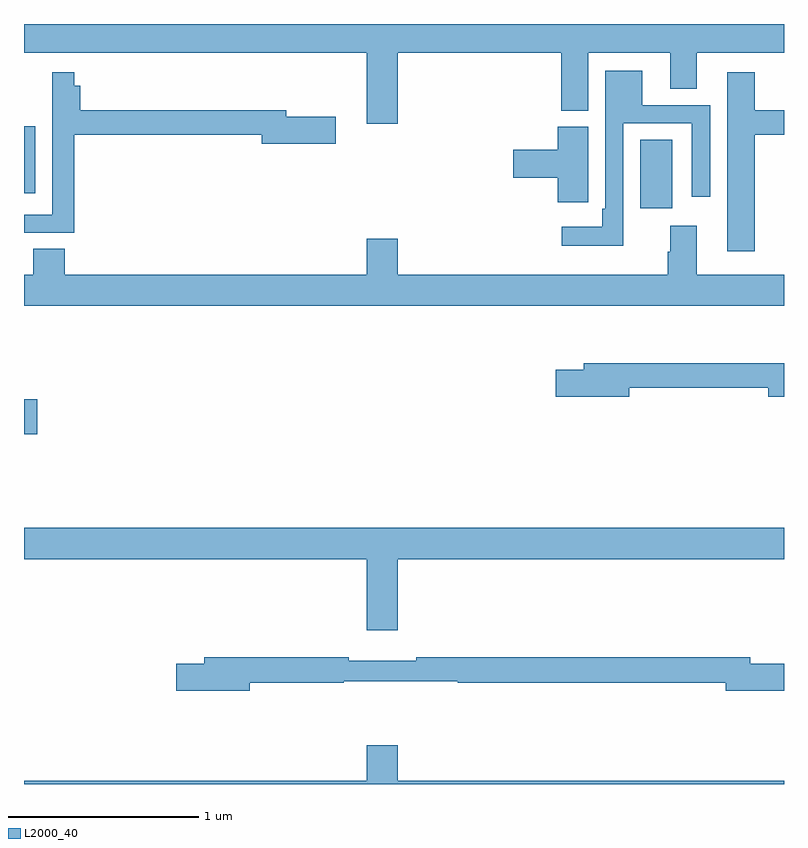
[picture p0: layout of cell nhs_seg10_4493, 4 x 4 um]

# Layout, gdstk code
import gdstk
lib = gdstk.Library(unit=1e-6, precision=1e-09)
def R(c, l, rs):  # rectangles x0, y0, x1, y1
    for r in rs: c.add(gdstk.rectangle(r[:2], r[2:], *l))
def P(c, l, *ps):  # polygons
    for p in ps: c.add(gdstk.Polygon(p, *l))
L2000_40 = (2000, 40)

nhs_seg10_4493 = lib.new_cell('nhs_seg10_4493')
R(nhs_seg10_4493, L2000_40, [(367,1266.341,367.069,1266.524), (370.244,1267.53,370.411,1267.892), (367,1267.608,367.06,1267.961)])
P(nhs_seg10_4493, L2000_40, [(368.968,1268.348),(369.827,1268.348),(369.827,1268.044),(369.97,1268.044),(369.97,1268.348),(370.4,1268.348),(370.4,1268.158),(370.54,1268.158),(370.54,1268.348),(371,1268.348),(371,1268.5),(367,1268.5),(367,1268.348),(368.804,1268.348),(368.804,1267.974),(368.968,1267.974)],
  [(370.155,1267.977),(370.515,1267.977),(370.515,1267.59),(370.611,1267.59),(370.611,1268.073),(370.255,1268.073),(370.255,1268.254),(370.059,1268.254),(370.059,1267.528),(370.043,1267.528),(370.043,1267.432),(369.831,1267.432),(369.831,1267.334),(370.155,1267.334)],
  [(367.265,1267.918),(368.252,1267.918),(368.252,1267.871),(368.641,1267.871),(368.641,1268.013),(368.38,1268.013),(368.38,1268.047),(367.295,1268.047),(367.295,1268.176),(367.265,1268.176),(367.265,1268.245),(367.149,1268.245),(367.149,1267.497),(367,1267.497),(367,1267.401),(367.265,1267.401)],
  [(370.847,1267.918),(371,1267.918),(371,1268.047),(370.847,1268.047),(370.847,1268.245),(370.7,1268.245),(370.7,1267.305),(370.847,1267.305)],
  [(369.969,1267.675),(369.97,1267.675),(369.97,1267.959),(369.809,1267.959),(369.809,1267.838),(369.576,1267.838),(369.576,1267.691),(369.809,1267.691),(369.809,1267.563),(369.969,1267.563)],
  [(371,1267.18),(370.54,1267.18),(370.54,1267.438),(370.4,1267.438),(370.4,1267.301),(370.388,1267.301),(370.388,1267.18),(368.968,1267.18),(368.968,1267.369),(368.804,1267.369),(368.804,1267.18),(367.214,1267.18),(367.214,1267.316),(367.049,1267.316),(367.049,1267.18),(367,1267.18),(367,1267.016),(371,1267.016)],
  [(370.186,1266.586),(370.916,1266.586),(370.916,1266.539),(371,1266.539),(371,1266.715),(369.947,1266.715),(369.947,1266.681),(369.798,1266.681),(369.798,1266.539),(370.186,1266.539)],
  [(368.968,1265.684),(371,1265.684),(371,1265.848),(367,1265.848),(367,1265.684),(368.804,1265.684),(368.804,1265.31),(368.968,1265.31)],
  [(368.188,1265.032),(368.684,1265.032),(368.684,1265.04),(369.284,1265.04),(369.284,1265.032),(370.694,1265.032),(370.694,1264.99),(371,1264.99),(371,1265.132),(370.822,1265.132),(370.822,1265.168),(369.064,1265.168),(369.064,1265.149),(368.708,1265.149),(368.708,1265.168),(367.949,1265.168),(367.949,1265.132),(367.8,1265.132),(367.8,1264.99),(368.188,1264.99)],
  [(371,1264.516),(368.968,1264.516),(368.968,1264.705),(368.804,1264.705),(368.804,1264.516),(367,1264.516),(367,1264.5),(371,1264.5)])

lib.write_gds('nhs_seg10_4493.gds')
